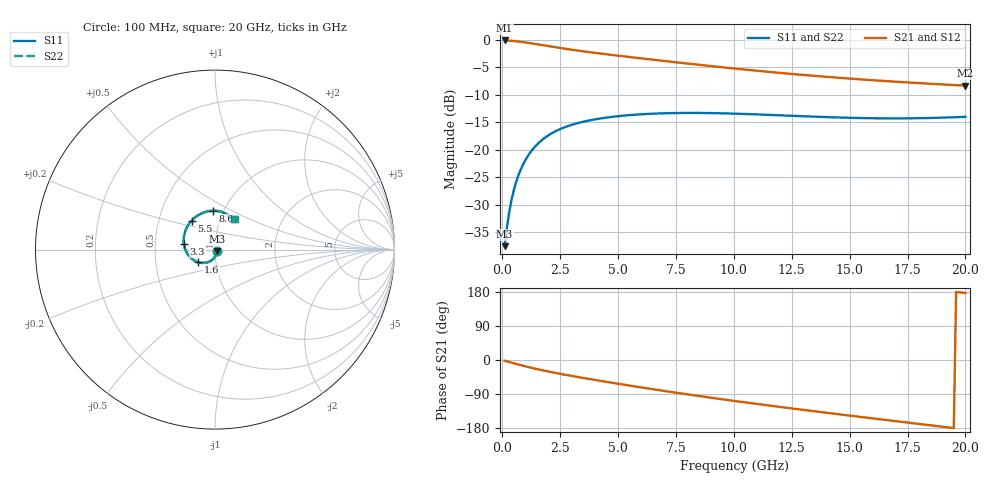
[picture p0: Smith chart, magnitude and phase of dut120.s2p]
! Touchstone file exported from HFSS 2024.1.0
!  File:  C:/UserFiles/LocalFiles/RDL_TSV_Batchsim/temp_RDL_TSV_120_1779424406.aedt
!  Generated:  12:49:23 PM May 22, 2026
!  Design:  RDL_TSV
!  Project:  temp_RDL_TSV_120_1779424406
!  Setup:  Setup1
!  Solution:  Sweep
! Variables:
!  dtsv = 14um
!  hbump = 3um
!  htsv = 97.17um
!  ldown = 271.52um
!  lrdl = 332.27um
!  p = 40
!  p1 = 40.52um
!  rhole = 10um
!  subl = 2143.64um
!  t = 450um
!  tdown = 4.3um
!  trdl = 3.59um
!  viad = 10um
!  wdown = 14.15um
!  wrdl = 25.85um
!  xbump = 18um
# GHz S MA R 50.000000
! Terminal data exported
! Port[1] = TM1_1_T1
! Port[2] = TM1_4_T1
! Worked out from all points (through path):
!   200 points, 100 MHz to 20 GHz, reference 50 ohm
!   highest |S21| = -0.10 dB at 100 MHz (marker M1); lowest = -8.3 dB at 20 GHz (marker M2)
!   group delay of S21, straight-line fit = 24.1 ps
!   lowest |S11| = -37.5 dB at 100 MHz (marker M3), VSWR 1.03, Z = 51 - j0.883 ohm
!   |S11| at or under -10 dB: start of sweep to end of sweep
!   |S22| runs from -37.5 to -13.2 dB; largest |S21 - S12| = 9.3e-15
!   S11 on the Smith chart (normalised r, x): 100 MHz: 1.02, -0.02; 1.6 GHz: 0.82, -0.12; 3.3 GHz: 0.70, +0.05; 5.5 GHz: 0.73, +0.25; 8.6 GHz: 0.89, +0.41; 20 GHz: 1.17, +0.41
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0.1  0.01332 -40.5  0.9888 -1.8  0.9888 -1.8  0.01332 -40.5
! Gamma 0 0 0 0
! Port Impedance 50 0 50 0
0.2  0.01964 -63.2  0.9868 -3.6  0.9868 -3.6  0.01964 -63.2
0.3  0.02721 -76.5  0.984 -5.3  0.984 -5.3  0.02721 -76.5
0.4  0.03518 -85.8  0.9806 -7.1  0.9806 -7.1  0.03518 -85.8
0.6  0.0512 -99.6  0.9719 -10.4  0.9719 -10.4  0.0512 -99.7
0.8  0.06657 -110.5  0.9611 -13.7  0.9611 -13.7  0.06657 -110.5
1  0.08096 -119.8  0.9487 -16.8  0.9487 -16.8  0.08096 -119.8
1.3  0.1004 -132.2  0.9279 -21.2  0.9279 -21.2  0.1004 -132.2
1.6  0.1173 -143.2  0.9061 -25.4  0.9061 -25.4  0.1173 -143.3
2.3  0.1478 -165.3  0.8569 -34.2  0.8569 -34.2  0.1479 -165.4
3.3  0.1762 169.4  0.7974 -45.3  0.7974 -45.3  0.1763 169.3
3.5  0.1804 165.0  0.787 -47.5  0.787 -47.5  0.1806 164.9
4.5  0.1967 145.3  0.7399 -57.7  0.7399 -57.7  0.1971 145.3
5.5  0.2072 129.0  0.6987 -67.6  0.6987 -67.6  0.2077 128.9
6.8  0.2147 111.4  0.6502 -79.9  0.6502 -79.9  0.2153 111.3
8.6  0.2167 92.7  0.5905 -96.0  0.5905 -96.0  0.2174 92.6
10.1  0.2134 81.0  0.5473 -108.7  0.5473 -108.7  0.2143 80.9
11.7  0.2075 71.9  0.5077 -121.6  0.5077 -121.6  0.2085 71.7
13.4  0.2008 65.2  0.4725 -134.7  0.4725 -134.7  0.2017 65.1
15  0.1958 61.4  0.445 -146.8  0.445 -146.8  0.1967 61.2
16.7  0.1934 59.1  0.4206 -159.3  0.4206 -159.3  0.1944 58.9
20  0.1998 57.2  0.3839 176.7  0.3839 176.7  0.2006 57.0
